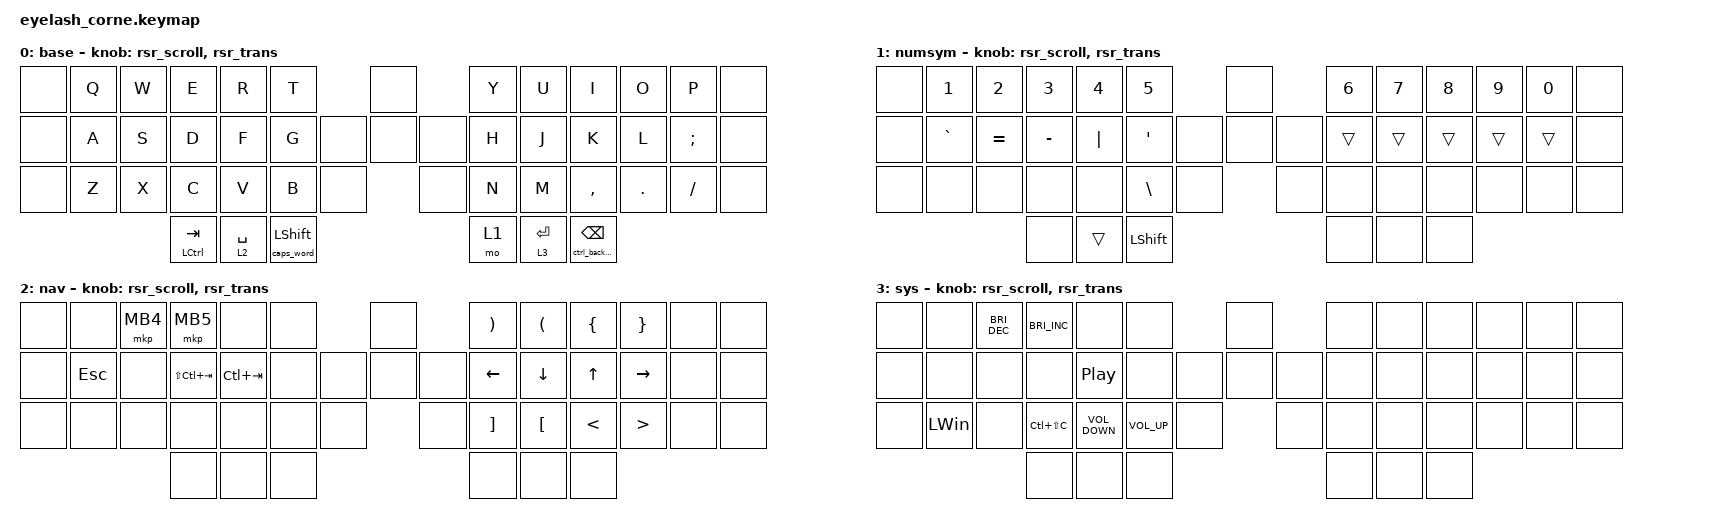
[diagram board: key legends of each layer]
#define ZMK_POINTING_DEFAULT_MOVE_VAL 1200  // 600
#define ZMK_POINTING_DEFAULT_SCRL_VAL 25   // 10

#include <input/processors.dtsi>
#include <zephyr/dt-bindings/input/input-event-codes.h>
#include <behaviors/runtime-sensor-rotate.dtsi>
#include <behaviors.dtsi>
#include <dt-bindings/zmk/keys.h>
#include <dt-bindings/zmk/pointing.h>

&soft_off { hold-time-ms = <2000>; };

/ {
    behaviors {
        rsr_scroll: rsr_scroll {
            compatible = "zmk,behavior-runtime-sensor-rotate";
            #sensor-binding-cells = <0>;
            tap-ms = <5>;
            cw-binding = <&kp C_AC_SCROLL_UP>;
            ccw-binding = <&kp C_AC_SCROLL_DOWN>;
        };

        rsr_trans: rsr_trans {
            compatible = "zmk,behavior-runtime-sensor-rotate";
            #sensor-binding-cells = <0>;
            tap-ms = <0>;
        };

        shift_to_caps_word: shift_to_caps_word {
            compatible = "zmk,behavior-hold-tap";
            label = "SHIFT_TO_CAPS_WORD";
            bindings = <&caps_word>, <&kp>;

            #binding-cells = <2>;
            tapping-term-ms = <200>;
            retro-tap;
        };

        ctrl_backspace_behavior: ctrl_backspace_behavior {
            compatible = "zmk,behavior-hold-tap";
            label = "CTRL_BACKSPACE_BEHAVIOR";
            bindings = <&ctrl_backspace_macro>, <&kp>;

            #binding-cells = <2>;
            tapping-term-ms = <200>;
        };
    };

    macros {
        ctrl_backspace_macro: ctrl_backspace_macro {
            compatible = "zmk,behavior-macro";
            #binding-cells = <0>;
            bindings = <&kp LC(BACKSPACE)>, <&macro_tap_time 200>;

            label = "CTRL_BACKSPACE_MACRO";
        };
    };

    combos {
        compatible = "zmk,combos";

        softoff {
            bindings = <&soft_off>;
            key-positions = <3 4 5 7 8 9>;
        };
    };

    keymap {
        compatible = "zmk,keymap";

        base_layer {
            display-name = "base";
            bindings = <
&none  &kp Q  &kp W  &kp E          &kp R        &kp T                                             &none         &kp Y  &kp U        &kp I                                 &kp O    &kp P     &none
&none  &kp A  &kp S  &kp D          &kp F        &kp G                                      &none  &none  &none  &kp H  &kp J        &kp K                                 &kp L    &kp SEMI  &none
&none  &kp Z  &kp X  &kp C          &kp V        &kp B                             &none           &none         &kp N  &kp M        &kp COMMA                             &kp DOT  &kp FSLH  &none
                     &mt LCTRL TAB  &lt 2 SPACE  &shift_to_caps_word 0 LEFT_SHIFT                                &mo 1  &lt 3 ENTER  &ctrl_backspace_behavior 0 BACKSPACE
            >;

            sensor-bindings = <&rsr_scroll>, <&rsr_trans>;
        };

        numsym_layer {
            display-name = "numsym";
            bindings = <
&none  &kp N1     &kp N2     &kp N3     &kp N4    &kp N5                     &none         &kp N6  &kp N7  &kp N8  &kp N9  &kp N0  &none
&none  &kp GRAVE  &kp EQUAL  &kp MINUS  &kp PIPE  &kp SQT             &none  &none  &none  &trans  &trans  &trans  &trans  &trans  &none
&none  &none      &none      &none      &none     &kp BSLH   &none           &none         &none   &none   &none   &none   &none   &none
                             &none      &trans    &kp LSHFT                                &none   &none   &none
            >;

            sensor-bindings = <&rsr_scroll>, <&rsr_trans>;
        };

        nav_layer {
            display-name = "nav";
            bindings = <
&none  &none    &mkp MB4  &mkp MB5         &none        &none                  &none         &kp RIGHT_PARENTHESIS  &kp LEFT_PARENTHESIS  &kp LEFT_BRACE  &kp RIGHT_BRACE   &none  &none
&none  &kp ESC  &none     &kp LS(LC(TAB))  &kp LC(TAB)  &none           &none  &none  &none  &kp LEFT               &kp DOWN              &kp UP          &kp RIGHT         &none  &none
&none  &none    &none     &none            &none        &none  &none           &none         &kp RBKT               &kp LBKT              &kp LESS_THAN   &kp GREATER_THAN  &none  &none
                          &none            &none        &none                                &none                  &none                 &none
            >;

            sensor-bindings = <&rsr_scroll>, <&rsr_trans>;
        };

        sys_layer {
            display-name = "sys";
            bindings = <
&none  &none     &kp C_BRIGHTNESS_DEC  &kp C_BRIGHTNESS_INC  &none              &none                            &none         &none  &none  &none  &none  &none  &none
&none  &none     &none                 &none                 &kp C_PLAY_PAUSE   &none                     &none  &none  &none  &none  &none  &none  &none  &none  &none
&none  &kp LWIN  &none                 &kp LC(LS(C))         &kp C_VOLUME_DOWN  &kp C_VOLUME_UP  &none           &none         &none  &none  &none  &none  &none  &none
                                       &none                 &none              &none                                          &none  &none  &none
            >;

            sensor-bindings = <&rsr_scroll>, <&rsr_trans>;
        };
    };
};
